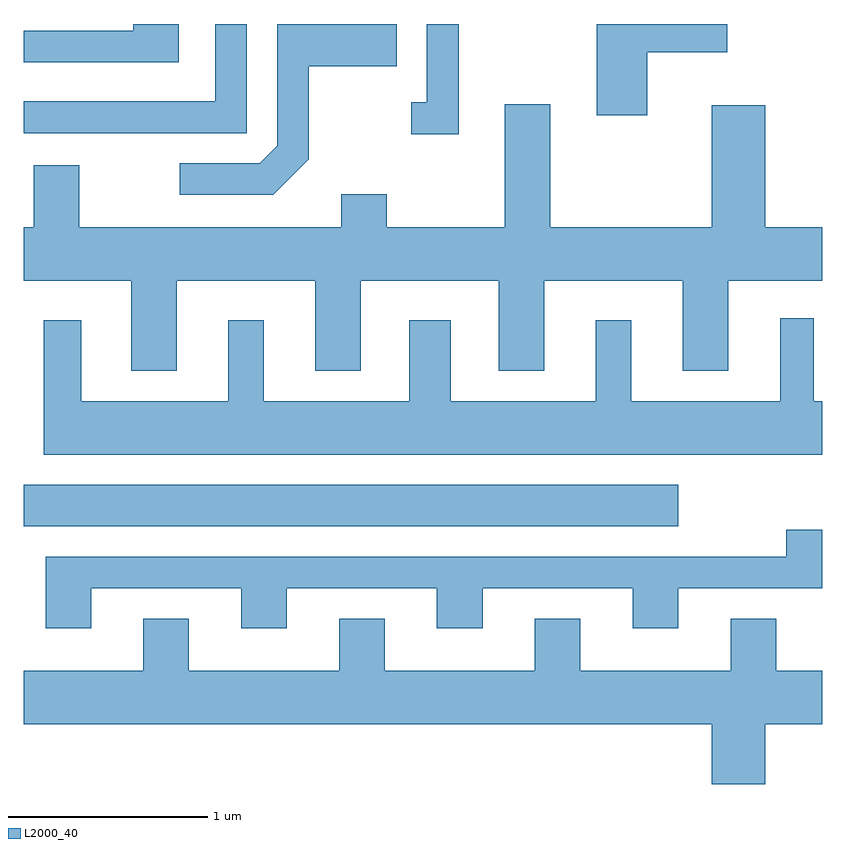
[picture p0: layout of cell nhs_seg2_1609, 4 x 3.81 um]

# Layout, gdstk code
import gdstk
lib = gdstk.Library(unit=1e-6, precision=1e-09)
def R(c, l, rs):  # rectangles x0, y0, x1, y1
    for r in rs: c.add(gdstk.rectangle(r[:2], r[2:], *l))
def P(c, l, *ps):  # polygons
    for p in ps: c.add(gdstk.Polygon(p, *l))
L2000_40 = (2000, 40)

nhs_seg2_1609 = lib.new_cell('nhs_seg2_1609')
R(nhs_seg2_1609, L2000_40, [(231.611,1069.286,234.889,1069.494)])
P(nhs_seg2_1609, L2000_40, [(232.389,1071.802),(232.161,1071.802),(232.161,1071.769),(231.611,1071.769),(231.611,1071.611),(232.389,1071.611)],
  [(233.789,1071.802),(233.631,1071.802),(233.631,1071.409),(233.553,1071.409),(233.553,1071.251),(233.789,1071.251)],
  [(233.039,1071.124),(233.039,1071.591),(233.479,1071.591),(233.479,1071.802),(232.881,1071.802),(232.881,1071.192),(232.794,1071.104),(232.393,1071.104),(232.393,1070.946),(232.862,1070.946)],
  [(232.729,1071.802),(232.571,1071.802),(232.571,1071.414),(231.611,1071.414),(231.611,1071.256),(232.729,1071.256)],
  [(234.734,1071.661),(235.134,1071.661),(235.134,1071.802),(234.481,1071.802),(234.481,1071.346),(234.734,1071.346)],
  [(235.056,1070.784),(234.249,1070.784),(234.249,1071.399),(234.021,1071.399),(234.021,1070.784),(233.429,1070.784),(233.429,1070.949),(233.201,1070.949),(233.201,1070.784),(231.889,1070.784),(231.889,1071.094),(231.661,1071.094),(231.661,1070.784),(231.611,1070.784),(231.611,1070.516),(232.151,1070.516),(232.151,1070.066),(232.379,1070.066),(232.379,1070.516),(233.071,1070.516),(233.071,1070.066),(233.299,1070.066),(233.299,1070.516),(233.991,1070.516),(233.991,1070.066),(234.219,1070.066),(234.219,1070.516),(234.911,1070.516),(234.911,1070.066),(235.139,1070.066),(235.139,1070.516),(235.611,1070.516),(235.611,1070.784),(235.324,1070.784),(235.324,1071.394),(235.056,1071.394)],
  [(235.611,1069.914),(235.569,1069.914),(235.569,1070.328),(235.401,1070.328),(235.401,1069.914),(234.654,1069.914),(234.654,1070.319),(234.476,1070.319),(234.476,1069.914),(233.749,1069.914),(233.749,1070.319),(233.541,1070.319),(233.541,1069.914),(232.814,1069.914),(232.814,1070.319),(232.636,1070.319),(232.636,1069.914),(231.899,1069.914),(231.899,1070.319),(231.711,1070.319),(231.711,1069.646),(235.611,1069.646)],
  [(231.949,1068.976),(232.701,1068.976),(232.701,1068.776),(232.929,1068.776),(232.929,1068.976),(233.681,1068.976),(233.681,1068.776),(233.909,1068.776),(233.909,1068.976),(234.661,1068.976),(234.661,1068.776),(234.889,1068.776),(234.889,1068.976),(235.611,1068.976),(235.611,1069.269),(235.431,1069.269),(235.431,1069.134),(231.721,1069.134),(231.721,1068.776),(231.949,1068.776)],
  [(235.324,1068.296),(235.611,1068.296),(235.611,1068.564),(235.379,1068.564),(235.379,1068.824),(235.151,1068.824),(235.151,1068.564),(234.399,1068.564),(234.399,1068.824),(234.171,1068.824),(234.171,1068.564),(233.419,1068.564),(233.419,1068.824),(233.191,1068.824),(233.191,1068.564),(232.439,1068.564),(232.439,1068.824),(232.211,1068.824),(232.211,1068.564),(231.611,1068.564),(231.611,1068.296),(235.056,1068.296),(235.056,1067.996),(235.324,1067.996)])

lib.write_gds('nhs_seg2_1609.gds')
